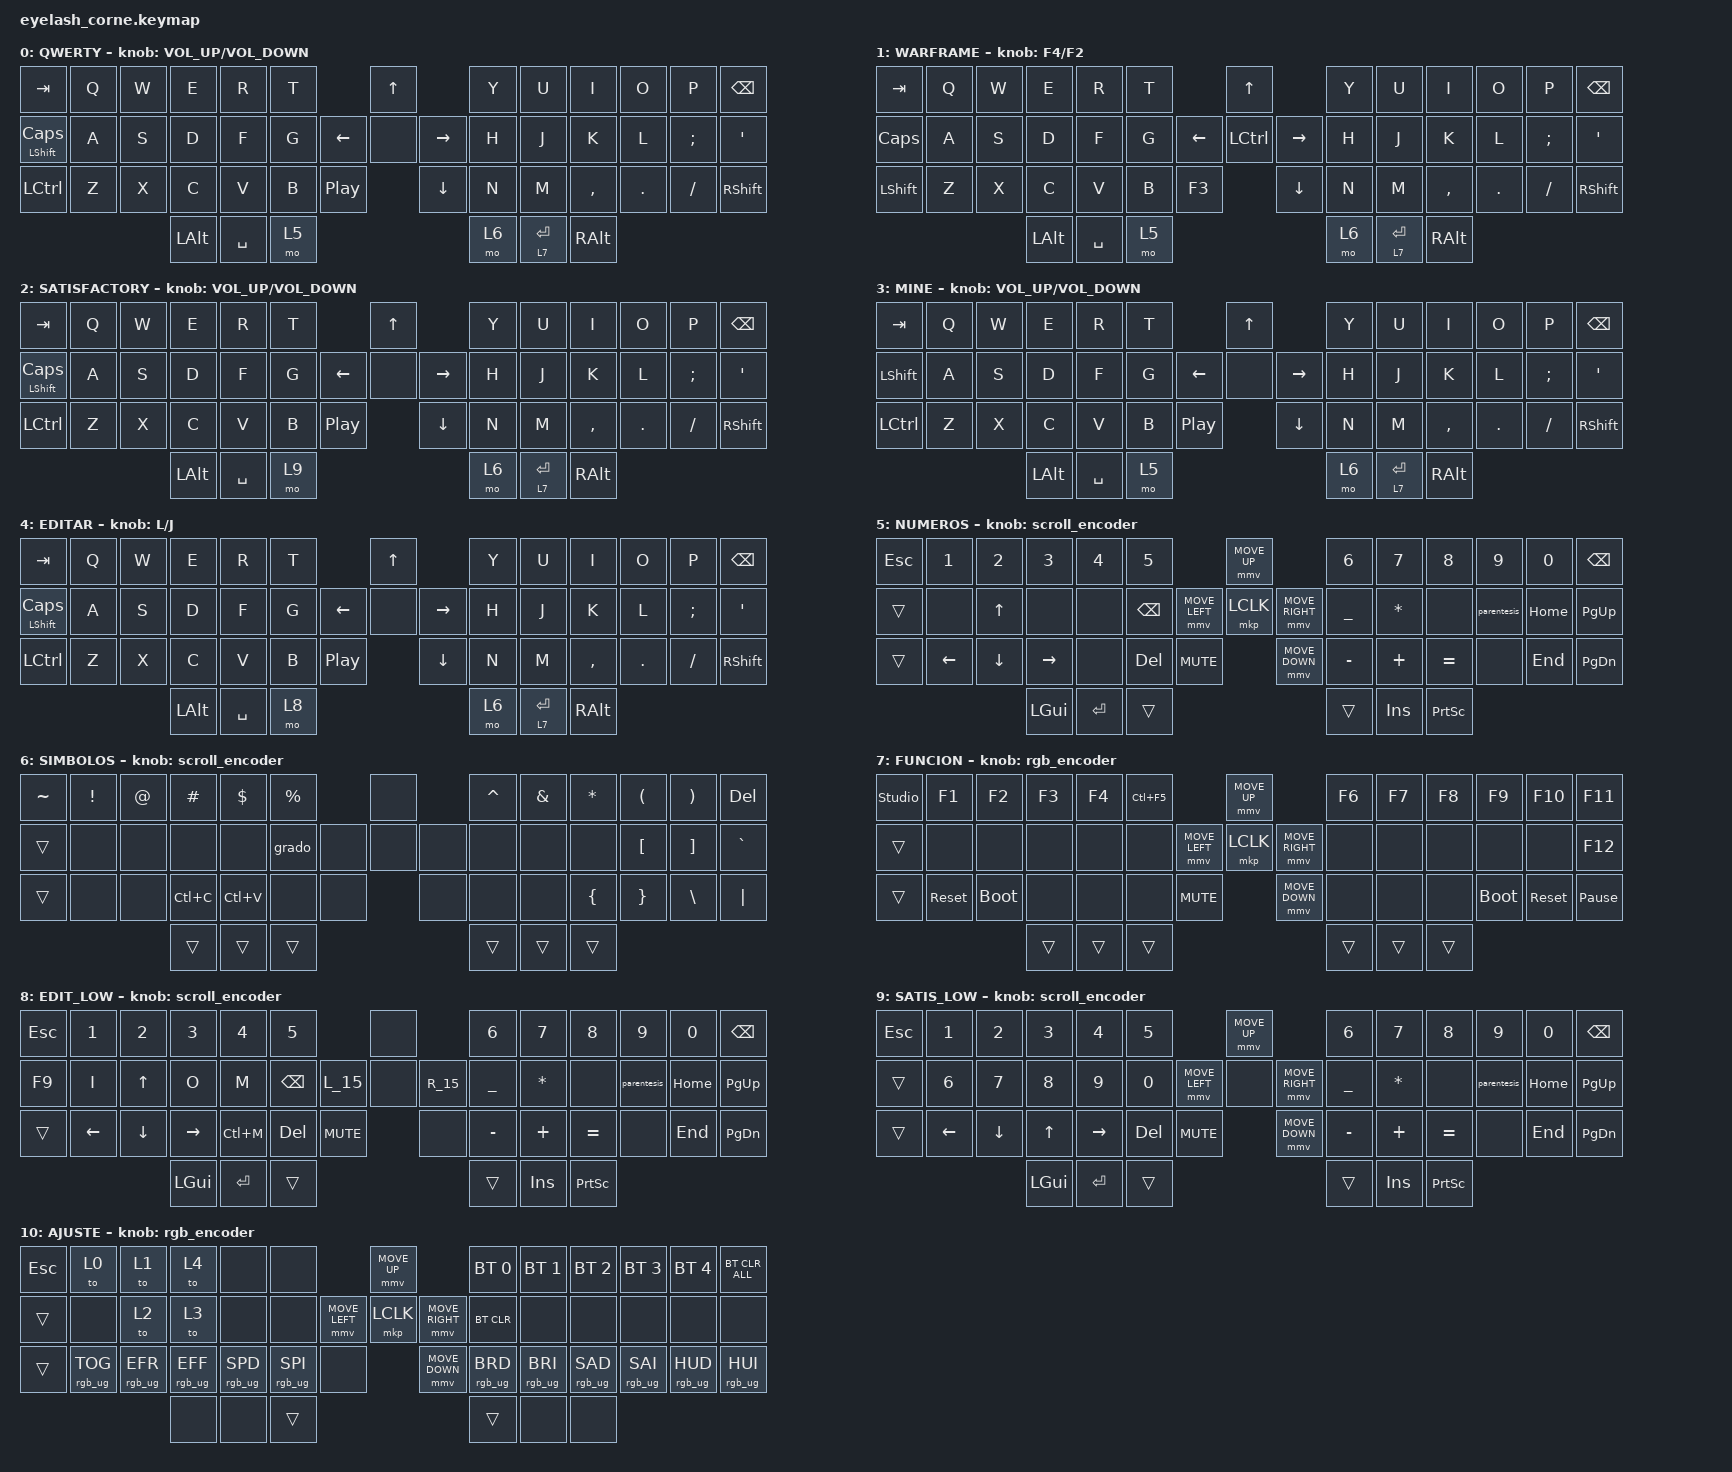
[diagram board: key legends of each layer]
#define ZMK_POINTING_DEFAULT_MOVE_VAL 1200  // 600
#define ZMK_POINTING_DEFAULT_SCRL_VAL 25   // 10

#include <input/processors.dtsi>
#include <zephyr/dt-bindings/input/input-event-codes.h>
#include <behaviors.dtsi>
#include <dt-bindings/zmk/bt.h>
#include <dt-bindings/zmk/keys.h>
#include <dt-bindings/zmk/pointing.h>
#include <dt-bindings/zmk/rgb.h>

&mmv_input_listener { input-processors = <&zip_xy_scaler 2 1>; };

&msc_input_listener { input-processors = <&zip_scroll_scaler 2 1>; };

&msc {
    acceleration-exponent = <1>;      // 0
    time-to-max-speed-ms = <100>;       // 300
    delay-ms = <0>;                   // 0
};

&mmv {
    time-to-max-speed-ms = <500>;
    acceleration-exponent = <1>;
    trigger-period-ms = <16>;
};

/ {
    behaviors {
        td0: td0 {
            compatible = "zmk,behavior-tap-dance";
            display-name = "Shift/Caps Lock Tap Dance";
            #binding-cells = <0>;
            bindings = <&kp LEFT_SHIFT>, <&kp CAPS>;
        };
    };

    rgb_encoder: rgb_encoder {
        compatible = "zmk,behavior-sensor-rotate";
        #sensor-binding-cells = <0>;
        bindings = <&rgb_ug RGB_BRI>, <&rgb_ug RGB_BRD>;
    };

    scroll_encoder: scroll_encoder {
        compatible = "zmk,behavior-sensor-rotate";
        #sensor-binding-cells = <0>;
        bindings = <&msc SCRL_DOWN>, <&msc SCRL_UP>;

        tap-ms = <100>;
    };

    macros {
        parentesis: parentesis {
            compatible = "zmk,behavior-macro";
            #binding-cells = <0>;
            bindings = <&kp LEFT_PARENTHESIS &kp RIGHT_PARENTHESIS &kp LEFT_ARROW>;
            label = "PARENTESIS";
        };

        L_15: L_15 {
            compatible = "zmk,behavior-macro";
            #binding-cells = <0>;
            bindings = <&kp LEFT_ARROW &kp LEFT_ARROW &kp LEFT_ARROW &kp LEFT_ARROW &kp LEFT_ARROW &kp LEFT_ARROW &kp LEFT_ARROW &kp LEFT_ARROW &kp LEFT_ARROW &kp LEFT_ARROW &kp LEFT_ARROW &kp LEFT_ARROW &kp LEFT_ARROW &kp LEFT_ARROW &kp LEFT_ARROW>;
            label = "L_15";
        };

        R_15: R_15 {
            compatible = "zmk,behavior-macro";
            #binding-cells = <0>;
            bindings = <&kp RIGHT_ARROW &kp RIGHT_ARROW &kp RIGHT_ARROW &kp RIGHT_ARROW &kp RIGHT_ARROW &kp RIGHT_ARROW &kp RIGHT_ARROW &kp RIGHT_ARROW &kp RIGHT_ARROW &kp RIGHT_ARROW &kp RIGHT_ARROW &kp RIGHT_ARROW &kp RIGHT_ARROW &kp RIGHT_ARROW &kp RIGHT_ARROW>;
            label = "R_15";
        };

        grado: grado {
            compatible = "zmk,behavior-macro";
            #binding-cells = <0>;
            bindings =
                <&macro_press>,
                <&kp LEFT_ALT &kp KP_NUMBER_0 &kp KP_NUMBER_1 &kp KP_NUMBER_7 &kp KP_NUMBER_6>,
                <&macro_release>,
                <&kp LEFT_ALT>;

            label = "GRADO";
        };
    };

    keymap {
        compatible = "zmk,keymap";

        NORMAL {
            display-name = "QWERTY";
            bindings = <
&kp TAB                  &kp Q  &kp W  &kp E         &kp R      &kp T                                      &kp UP_ARROW                     &kp Y  &kp U        &kp I      &kp O    &kp P     &kp BSPC
&mt LEFT_SHIFT CAPSLOCK  &kp A  &kp S  &kp D         &kp F      &kp G                      &kp LEFT_ARROW  &none           &kp RIGHT_ARROW  &kp H  &kp J        &kp K      &kp L    &kp SEMI  &kp SQT
&kp LCTRL                &kp Z  &kp X  &kp C         &kp V      &kp B  &kp C_PLAY_PAUSE                    &kp DOWN_ARROW                   &kp N  &kp M        &kp COMMA  &kp DOT  &kp FSLH  &kp RIGHT_SHIFT
                                       &kp LEFT_ALT  &kp SPACE  &mo 5                                                                       &mo 6  &lt 7 ENTER  &kp RALT
            >;

            sensor-bindings = <&inc_dec_kp C_VOLUME_UP C_VOLUME_DOWN>;
        };

        WARFRAME {
            display-name = "WARFRAME";
            bindings = <
&kp TAB         &kp Q  &kp W  &kp E         &kp R      &kp T                            &kp UP_ARROW                     &kp Y  &kp U        &kp I      &kp O    &kp P     &kp BSPC
&kp CAPSLOCK    &kp A  &kp S  &kp D         &kp F      &kp G            &kp LEFT_ARROW  &kp LCTRL       &kp RIGHT_ARROW  &kp H  &kp J        &kp K      &kp L    &kp SEMI  &kp SQT
&kp LEFT_SHIFT  &kp Z  &kp X  &kp C         &kp V      &kp B  &kp F3                    &kp DOWN_ARROW                   &kp N  &kp M        &kp COMMA  &kp DOT  &kp FSLH  &kp RIGHT_SHIFT
                              &kp LEFT_ALT  &kp SPACE  &mo 5                                                             &mo 6  &lt 7 ENTER  &kp RALT
            >;

            sensor-bindings = <&inc_dec_kp F4 F2>;
        };

        SATISFACTORY {
            display-name = "SATISFACTORY";
            bindings = <
&kp TAB                  &kp Q  &kp W  &kp E         &kp R      &kp T                                      &kp UP_ARROW                     &kp Y  &kp U        &kp I      &kp O    &kp P     &kp BSPC
&mt LEFT_SHIFT CAPSLOCK  &kp A  &kp S  &kp D         &kp F      &kp G                      &kp LEFT_ARROW  &none           &kp RIGHT_ARROW  &kp H  &kp J        &kp K      &kp L    &kp SEMI  &kp SQT
&kp LCTRL                &kp Z  &kp X  &kp C         &kp V      &kp B  &kp C_PLAY_PAUSE                    &kp DOWN_ARROW                   &kp N  &kp M        &kp COMMA  &kp DOT  &kp FSLH  &kp RIGHT_SHIFT
                                       &kp LEFT_ALT  &kp SPACE  &mo 9                                                                       &mo 6  &lt 7 ENTER  &kp RALT
            >;

            sensor-bindings = <&inc_dec_kp C_VOLUME_UP C_VOLUME_DOWN>;
        };

        MINECRAFT {
            display-name = "MINE";
            bindings = <
&kp TAB         &kp Q  &kp W  &kp E         &kp R      &kp T                                      &kp UP_ARROW                     &kp Y  &kp U        &kp I      &kp O    &kp P     &kp BSPC
&kp LEFT_SHIFT  &kp A  &kp S  &kp D         &kp F      &kp G                      &kp LEFT_ARROW  &none           &kp RIGHT_ARROW  &kp H  &kp J        &kp K      &kp L    &kp SEMI  &kp SQT
&kp LCTRL       &kp Z  &kp X  &kp C         &kp V      &kp B  &kp C_PLAY_PAUSE                    &kp DOWN_ARROW                   &kp N  &kp M        &kp COMMA  &kp DOT  &kp FSLH  &kp RIGHT_SHIFT
                              &kp LEFT_ALT  &kp SPACE  &mo 5                                                                       &mo 6  &lt 7 ENTER  &kp RALT
            >;

            sensor-bindings = <&inc_dec_kp C_VOLUME_UP C_VOLUME_DOWN>;
        };

        EDITAR {
            display-name = "EDITAR";
            bindings = <
&kp TAB                  &kp Q  &kp W  &kp E         &kp R      &kp T                                      &kp UP_ARROW                     &kp Y  &kp U        &kp I      &kp O    &kp P     &kp BSPC
&mt LEFT_SHIFT CAPSLOCK  &kp A  &kp S  &kp D         &kp F      &kp G                      &kp LEFT_ARROW  &none           &kp RIGHT_ARROW  &kp H  &kp J        &kp K      &kp L    &kp SEMI  &kp SQT
&kp LCTRL                &kp Z  &kp X  &kp C         &kp V      &kp B  &kp C_PLAY_PAUSE                    &kp DOWN_ARROW                   &kp N  &kp M        &kp COMMA  &kp DOT  &kp FSLH  &kp RIGHT_SHIFT
                                       &kp LEFT_ALT  &kp SPACE  &mo 8                                                                       &mo 6  &lt 7 ENTER  &kp RALT
            >;

            sensor-bindings = <&inc_dec_kp L J>;
        };

        lower_layer {
            display-name = "NUMEROS";
            bindings = <
&kp ESCAPE  &kp N1          &kp N2          &kp N3           &kp N4     &kp N5                                       &mmv MOVE_UP                     &kp N6          &kp N7        &kp N8           &kp N9       &kp N0    &kp BACKSPACE
&trans      &none           &kp UP_ARROW    &none            &none      &kp BACKSPACE                &mmv MOVE_LEFT  &mkp LCLK       &mmv MOVE_RIGHT  &kp UNDERSCORE  &kp ASTERISK  &none            &parentesis  &kp HOME  &kp PG_UP
&trans      &kp LEFT_ARROW  &kp DOWN_ARROW  &kp RIGHT_ARROW  &none      &kp DELETE     &kp C_MUTE                    &mmv MOVE_DOWN                   &kp MINUS       &kp PLUS      &kp EQUAL        &none        &kp END   &kp PG_DN
                                            &kp LEFT_GUI     &kp ENTER  &trans                                                                        &trans          &kp INS       &kp PRINTSCREEN
            >;

            sensor-bindings = <&scroll_encoder>;
        };

        raise_layer {
            display-name = "SIMBOLOS";
            bindings = <
&kp TILDE  &kp EXCL  &kp AT  &kp HASH   &kp DLLR   &kp PRCNT                  &none         &kp CARET  &kp AMPS  &kp ASTRK  &kp LEFT_PARENTHESIS  &kp RIGHT_PARENTHESIS  &kp DEL
&trans     &none     &none   &none      &none      &grado              &none  &none  &none  &none      &none     &none      &kp LEFT_BRACKET      &kp RIGHT_BRACKET      &kp GRAVE
&trans     &none     &none   &kp LC(C)  &kp LC(V)  &none      &none           &none         &none      &none     &kp LBRC   &kp RBRC              &kp BACKSLASH          &kp PIPE
                             &trans     &trans     &trans                                   &trans     &trans    &trans
            >;

            sensor-bindings = <&scroll_encoder>;
        };

        raise_space {
            display-name = "FUNCION";
            bindings = <
&studio_unlock  &kp F1      &kp F2       &kp F3  &kp F4  &kp LC(F5)                                &mmv MOVE_UP                     &kp F6  &kp F7  &kp F8  &kp F9       &kp F10     &kp F11
&trans          &none       &none        &none   &none   &none                     &mmv MOVE_LEFT  &mkp LCLK       &mmv MOVE_RIGHT  &none   &none   &none   &none        &none       &kp F12
&trans          &sys_reset  &bootloader  &none   &none   &none       &kp C_MUTE                    &mmv MOVE_DOWN                   &none   &none   &none   &bootloader  &sys_reset  &kp PAUSE_BREAK
                                         &trans  &trans  &trans                                                                     &trans  &trans  &trans
            >;

            sensor-bindings = <&rgb_encoder>;
        };

        lower_editar {
            display-name = "EDIT_LOW";
            bindings = <
&kp ESCAPE  &kp N1          &kp N2          &kp N3           &kp N4     &kp N5                              &none         &kp N6          &kp N7        &kp N8           &kp N9       &kp N0    &kp BACKSPACE
&kp F9      &kp I           &kp UP_ARROW    &kp O            &kp M      &kp BACKSPACE                &L_15  &none  &R_15  &kp UNDERSCORE  &kp ASTERISK  &none            &parentesis  &kp HOME  &kp PG_UP
&trans      &kp LEFT_ARROW  &kp DOWN_ARROW  &kp RIGHT_ARROW  &kp LC(M)  &kp DELETE     &kp C_MUTE           &none         &kp MINUS       &kp PLUS      &kp EQUAL        &none        &kp END   &kp PG_DN
                                            &kp LEFT_GUI     &kp ENTER  &trans                                            &trans          &kp INS       &kp PRINTSCREEN
            >;

            sensor-bindings = <&scroll_encoder>;
        };

        LOWER_SATISFACTORY {
            display-name = "SATIS_LOW";
            bindings = <
&kp ESCAPE  &kp N1          &kp N2          &kp N3        &kp N4           &kp N5                                    &mmv MOVE_UP                     &kp N6          &kp N7        &kp N8           &kp N9       &kp N0    &kp BACKSPACE
&trans      &kp NUMBER_6    &kp N7          &kp N8        &kp N9           &kp N0                    &mmv MOVE_LEFT  &none           &mmv MOVE_RIGHT  &kp UNDERSCORE  &kp ASTERISK  &none            &parentesis  &kp HOME  &kp PG_UP
&trans      &kp LEFT_ARROW  &kp DOWN_ARROW  &kp UP_ARROW  &kp RIGHT_ARROW  &kp DELETE  &kp C_MUTE                    &mmv MOVE_DOWN                   &kp MINUS       &kp PLUS      &kp EQUAL        &none        &kp END   &kp PG_DN
                                            &kp LEFT_GUI  &kp ENTER        &trans                                                                     &trans          &kp INS       &kp PRINTSCREEN
            >;

            sensor-bindings = <&scroll_encoder>;
        };

        AJUSTE {
            display-name = "AJUSTE";
            bindings = <
&kp ESCAPE  &to 0            &to 1            &to 4            &none            &none                                     &mmv MOVE_UP                     &bt BT_SEL 0     &bt BT_SEL 1     &bt BT_SEL 2     &bt BT_SEL 3     &bt BT_SEL 4     &bt BT_CLR_ALL
&trans      &none            &to 2            &to 3            &none            &none                     &mmv MOVE_LEFT  &mkp LCLK       &mmv MOVE_RIGHT  &bt BT_CLR       &none            &none            &none            &none            &none
&trans      &rgb_ug RGB_TOG  &rgb_ug RGB_EFR  &rgb_ug RGB_EFF  &rgb_ug RGB_SPD  &rgb_ug RGB_SPI  &none                    &mmv MOVE_DOWN                   &rgb_ug RGB_BRD  &rgb_ug RGB_BRI  &rgb_ug RGB_SAD  &rgb_ug RGB_SAI  &rgb_ug RGB_HUD  &rgb_ug RGB_HUI
                                              &none            &none            &trans                                                                     &trans           &none            &none
            >;

            sensor-bindings = <&rgb_encoder>;
        };
    };

    conditional_layers {
        compatible = "zmk,conditional-layers";

        Ajuste1 {
            if-layers = <5 6>;
            then-layer = <10>;
        };

        Ajuste2 {
            if-layers = <6 5>;
            then-layer = <10>;
        };

        AjusteEdit1 {
            if-layers = <8 6>;
            then-layer = <10>;
        };

        AjusteEdit2 {
            if-layers = <6 8>;
            then-layer = <10>;
        };

        AjusteSatis1 {
            if-layers = <9 6>;
            then-layer = <10>;
        };

        AjusteSatis2 {
            if-layers = <6 9>;
            then-layer = <10>;
        };
    };
};
